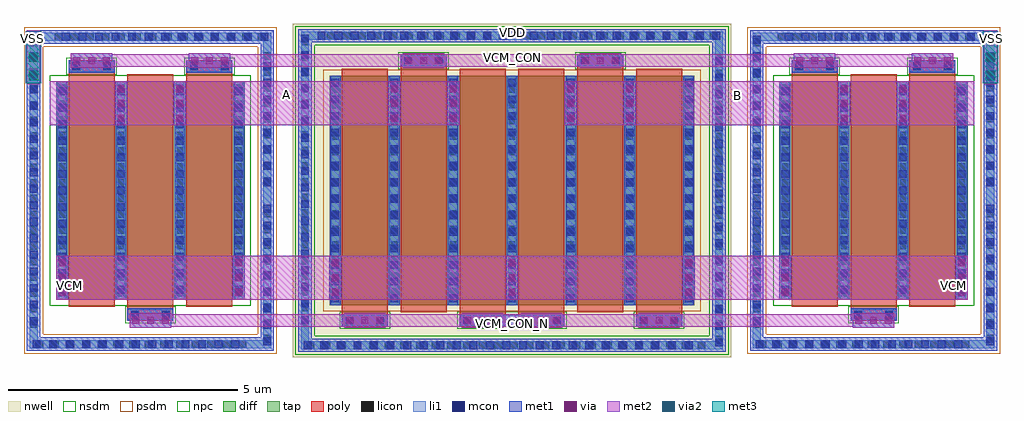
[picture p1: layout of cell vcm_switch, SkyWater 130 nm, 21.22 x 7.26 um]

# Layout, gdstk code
from math import pi, radians
import gdstk
lib = gdstk.Library(unit=1e-6, precision=1e-09)
def R(c, l, rs):  # rectangles x0, y0, x1, y1
    for r in rs: c.add(gdstk.rectangle(r[:2], r[2:], *l))
def A(c, l, x, y, w, h, nx, ny, dx, dy):  # array of equal rectangles
    R(c, l, [(x+i*dx, y+j*dy, x+i*dx+w, y+j*dy+h) for i in range(nx) for j in range(ny)])
nwell = (64, 20)
diff = (65, 20)
tap = (65, 44)
poly = (66, 20)
licon = (66, 44)
li1 = (67, 20)
mcon = (67, 44)
met1 = (68, 20)
via = (68, 44)
met2 = (69, 20)
via2 = (69, 44)
met3 = (70, 20)
nsdm = (93, 44)
psdm = (94, 20)
npc = (95, 20)

pfet_01v8_cdns_795502245 = lib.new_cell('pfet_01v8_CDNS_7955022452712')
R(pfet_01v8_cdns_795502245, nwell, [(-0.235,-0.18,1.235,5.18)])
R(pfet_01v8_cdns_795502245, diff, [(-0.055,0,0,5), (0,0,1,5), (1,0,1.055,5)])
R(pfet_01v8_cdns_795502245, poly, [(0,-0.15,1,0), (0,0,1,5), (0,5,1,5.19), (0,5.19,1,5.46)])
R(pfet_01v8_cdns_795502245, licon, [(0.08,5.24,0.25,5.41), (0.75,5.24,0.92,5.41)])
R(pfet_01v8_cdns_795502245, li1, [(0,5.21,1,5.44)])
R(pfet_01v8_cdns_795502245, mcon, [(0.08,5.24,0.25,5.41), (0.75,5.24,0.92,5.41)])
R(pfet_01v8_cdns_795502245, met1, [(0,5.19,1,5.46)])
R(pfet_01v8_cdns_795502245, psdm, [(-0.065,-0.13,1.065,5.13)])
R(pfet_01v8_cdns_795502245, npc, [(-0.05,5.14,1.05,5.51)])

nfet_01v8_cdns_795502245 = lib.new_cell('nfet_01v8_CDNS_7955022452713')
R(nfet_01v8_cdns_795502245, diff, [(-0.225,0,0,4.75), (0,0,1,4.75), (1,0,1.055,4.75)])
R(nfet_01v8_cdns_795502245, poly, [(0,-0.46,1,-0.19), (0,-0.19,1,0), (0,0,1,4.75), (0,4.75,1,4.9)])
A(nfet_01v8_cdns_795502245, licon, -0.225, 0.08, 0.17, 0.17, 1, 14, 0, 0.34)
R(nfet_01v8_cdns_795502245, licon, [(0.08,-0.41,0.25,-0.24), (0.75,-0.41,0.92,-0.24)])
R(nfet_01v8_cdns_795502245, li1, [(0,-0.44,1,-0.21), (-0.225,0,-0.055,4.75)])
A(nfet_01v8_cdns_795502245, mcon, -0.225, 0.13, 0.17, 0.17, 1, 13, 0, 0.36)
R(nfet_01v8_cdns_795502245, mcon, [(0.08,-0.41,0.25,-0.24), (0.75,-0.41,0.92,-0.24)])
R(nfet_01v8_cdns_795502245, met1, [(0,-0.46,1,-0.19), (-0.255,0,-0.025,4.75)])
R(nfet_01v8_cdns_795502245, nsdm, [(-0.235,-0.13,1.065,4.88)])
R(nfet_01v8_cdns_795502245, npc, [(-0.05,-0.51,1.05,-0.14)])

c_nfet_01v8_cdns_795502245 = lib.new_cell('nfet_01v8_CDNS_7955022452714')
R(c_nfet_01v8_cdns_795502245, diff, [(-0.265,0,0,4.75), (0,0,1,4.75), (1,0,1.225,4.75)])
R(c_nfet_01v8_cdns_795502245, poly, [(0,-0.15,1,0), (0,0,1,4.75), (0,4.75,1,4.94), (0,4.94,1,5.21)])
A(c_nfet_01v8_cdns_795502245, licon, -0.225, 0.08, 0.17, 0.17, 1, 14, 0, 0.34)
A(c_nfet_01v8_cdns_795502245, licon, 1.055, 0.08, 0.17, 0.17, 1, 14, 0, 0.34)
R(c_nfet_01v8_cdns_795502245, licon, [(0.08,4.99,0.25,5.16), (0.75,4.99,0.92,5.16)])
R(c_nfet_01v8_cdns_795502245, li1, [(-0.225,0,-0.055,4.75), (1.055,0,1.225,4.75), (0,4.96,1,5.19)])
A(c_nfet_01v8_cdns_795502245, mcon, -0.225, 0.13, 0.17, 0.17, 1, 13, 0, 0.36)
A(c_nfet_01v8_cdns_795502245, mcon, 1.055, 0.13, 0.17, 0.17, 1, 13, 0, 0.36)
R(c_nfet_01v8_cdns_795502245, mcon, [(0.08,4.99,0.25,5.16), (0.75,4.99,0.92,5.16)])
R(c_nfet_01v8_cdns_795502245, met1, [(-0.255,0,-0.025,4.75), (1.025,0,1.255,4.75), (0,4.94,1,5.21)])
R(c_nfet_01v8_cdns_795502245, nsdm, [(-0.405,-0.13,1.235,4.88)])
R(c_nfet_01v8_cdns_795502245, npc, [(-0.05,4.89,1.05,5.26)])

c_pfet_01v8_cdns_795502245 = lib.new_cell('pfet_01v8_CDNS_7955022452715')
R(c_pfet_01v8_cdns_795502245, nwell, [(-0.405,-0.18,1.235,5.18)])
R(c_pfet_01v8_cdns_795502245, diff, [(-0.225,0,0,5), (0,0,1,5), (1,0,1.055,5)])
R(c_pfet_01v8_cdns_795502245, poly, [(0,-0.15,1,0), (0,0,1,5), (0,5,1,5.19), (0,5.19,1,5.46)])
A(c_pfet_01v8_cdns_795502245, licon, -0.225, 0.205, 0.17, 0.17, 1, 14, 0, 0.34)
R(c_pfet_01v8_cdns_795502245, licon, [(0.08,5.24,0.25,5.41), (0.75,5.24,0.92,5.41)])
R(c_pfet_01v8_cdns_795502245, li1, [(-0.225,0,-0.055,5), (0,5.21,1,5.44)])
A(c_pfet_01v8_cdns_795502245, mcon, -0.225, 0.075, 0.17, 0.17, 1, 14, 0, 0.36)
R(c_pfet_01v8_cdns_795502245, mcon, [(0.08,5.24,0.25,5.41), (0.75,5.24,0.92,5.41)])
R(c_pfet_01v8_cdns_795502245, met1, [(-0.255,0,-0.025,5), (0,5.19,1,5.46)])
R(c_pfet_01v8_cdns_795502245, psdm, [(-0.235,-0.13,1.065,5.13)])
R(c_pfet_01v8_cdns_795502245, npc, [(-0.05,5.14,1.05,5.51)])

c_pfet_01v8_cdns_795502245_ = lib.new_cell('pfet_01v8_CDNS_7955022452716')
R(c_pfet_01v8_cdns_795502245_, nwell, [(-0.405,-0.18,1.445,5.18)])
R(c_pfet_01v8_cdns_795502245_, diff, [(-0.225,0,0,5), (0,0,1,5), (1,0,1.265,5)])
R(c_pfet_01v8_cdns_795502245_, poly, [(0,-0.46,1,-0.19), (0,-0.19,1,0), (0,0,1,5), (0,5,1,5.15)])
A(c_pfet_01v8_cdns_795502245_, licon, -0.225, 0.205, 0.17, 0.17, 1, 14, 0, 0.34)
A(c_pfet_01v8_cdns_795502245_, licon, 1.055, 0.205, 0.17, 0.17, 1, 14, 0, 0.34)
R(c_pfet_01v8_cdns_795502245_, licon, [(0.08,-0.41,0.25,-0.24), (0.75,-0.41,0.92,-0.24)])
R(c_pfet_01v8_cdns_795502245_, li1, [(0,-0.44,1,-0.21), (-0.225,0,-0.055,5), (1.055,0,1.225,5)])
A(c_pfet_01v8_cdns_795502245_, mcon, -0.225, 0.075, 0.17, 0.17, 1, 14, 0, 0.36)
A(c_pfet_01v8_cdns_795502245_, mcon, 1.055, 0.075, 0.17, 0.17, 1, 14, 0, 0.36)
R(c_pfet_01v8_cdns_795502245_, mcon, [(0.08,-0.41,0.25,-0.24), (0.75,-0.41,0.92,-0.24)])
R(c_pfet_01v8_cdns_795502245_, met1, [(0,-0.46,1,-0.19), (-0.255,0,-0.025,5), (1.025,0,1.255,5)])
R(c_pfet_01v8_cdns_795502245_, psdm, [(-0.235,-0.13,1.405,5.13)])
R(c_pfet_01v8_cdns_795502245_, npc, [(-0.05,-0.51,1.05,-0.14)])

c_pfet_01v8_cdns_795502245__ = lib.new_cell('pfet_01v8_CDNS_7955022452717')
R(c_pfet_01v8_cdns_795502245__, nwell, [(-0.235,-0.18,1.235,5.18)])
R(c_pfet_01v8_cdns_795502245__, diff, [(-0.055,0,0,5), (0,0,1,5), (1,0,1.055,5)])
R(c_pfet_01v8_cdns_795502245__, poly, [(0,-0.46,1,-0.19), (0,-0.19,1,0), (0,0,1,5), (0,5,1,5.15)])
R(c_pfet_01v8_cdns_795502245__, licon, [(0.08,-0.41,0.25,-0.24), (0.75,-0.41,0.92,-0.24)])
R(c_pfet_01v8_cdns_795502245__, li1, [(0,-0.44,1,-0.21)])
R(c_pfet_01v8_cdns_795502245__, mcon, [(0.08,-0.41,0.25,-0.24), (0.75,-0.41,0.92,-0.24)])
R(c_pfet_01v8_cdns_795502245__, met1, [(0,-0.46,1,-0.19)])
R(c_pfet_01v8_cdns_795502245__, psdm, [(-0.065,-0.13,1.065,5.13)])
R(c_pfet_01v8_cdns_795502245__, npc, [(-0.05,-0.51,1.05,-0.14)])

c_pfet_01v8_cdns_795502245___ = lib.new_cell('pfet_01v8_CDNS_7955022452718')
R(c_pfet_01v8_cdns_795502245___, nwell, [(-0.405,-0.18,1.405,5.18)])
R(c_pfet_01v8_cdns_795502245___, diff, [(-0.225,0,0,5), (0,0,1,5), (1,0,1.225,5)])
R(c_pfet_01v8_cdns_795502245___, poly, [(0,-0.46,1,-0.19), (0,-0.19,1,0), (0,0,1,5), (0,5,1,5.15)])
A(c_pfet_01v8_cdns_795502245___, licon, -0.225, 0.205, 0.17, 0.17, 1, 14, 0, 0.34)
A(c_pfet_01v8_cdns_795502245___, licon, 1.055, 0.205, 0.17, 0.17, 1, 14, 0, 0.34)
R(c_pfet_01v8_cdns_795502245___, licon, [(0.08,-0.41,0.25,-0.24), (0.75,-0.41,0.92,-0.24)])
R(c_pfet_01v8_cdns_795502245___, li1, [(0,-0.44,1,-0.21), (-0.225,0,-0.055,5), (1.055,0,1.225,5)])
A(c_pfet_01v8_cdns_795502245___, mcon, -0.225, 0.075, 0.17, 0.17, 1, 14, 0, 0.36)
A(c_pfet_01v8_cdns_795502245___, mcon, 1.055, 0.075, 0.17, 0.17, 1, 14, 0, 0.36)
R(c_pfet_01v8_cdns_795502245___, mcon, [(0.08,-0.41,0.25,-0.24), (0.75,-0.41,0.92,-0.24)])
R(c_pfet_01v8_cdns_795502245___, met1, [(0,-0.46,1,-0.19), (-0.255,0,-0.025,5), (1.025,0,1.255,5)])
R(c_pfet_01v8_cdns_795502245___, psdm, [(-0.235,-0.13,1.235,5.13)])
R(c_pfet_01v8_cdns_795502245___, npc, [(-0.05,-0.51,1.05,-0.14)])

c_pfet_01v8_cdns_795502245____ = lib.new_cell('pfet_01v8_CDNS_7955022452719')
R(c_pfet_01v8_cdns_795502245____, nwell, [(-0.405,-0.18,1.445,5.18)])
R(c_pfet_01v8_cdns_795502245____, diff, [(-0.225,0,0,5), (0,0,1,5), (1,0,1.265,5)])
R(c_pfet_01v8_cdns_795502245____, poly, [(0,-0.46,1,-0.19), (0,-0.19,1,0), (0,0,1,5), (0,5,1,5.15)])
A(c_pfet_01v8_cdns_795502245____, licon, -0.225, 0.205, 0.17, 0.17, 1, 14, 0, 0.34)
A(c_pfet_01v8_cdns_795502245____, licon, 1.055, 0.205, 0.17, 0.17, 1, 14, 0, 0.34)
R(c_pfet_01v8_cdns_795502245____, licon, [(0.08,-0.41,0.25,-0.24), (0.75,-0.41,0.92,-0.24)])
R(c_pfet_01v8_cdns_795502245____, li1, [(0,-0.44,1,-0.21), (-0.225,0,-0.055,5), (1.055,0,1.225,5)])
A(c_pfet_01v8_cdns_795502245____, mcon, -0.225, 0.075, 0.17, 0.17, 1, 14, 0, 0.36)
A(c_pfet_01v8_cdns_795502245____, mcon, 1.055, 0.075, 0.17, 0.17, 1, 14, 0, 0.36)
R(c_pfet_01v8_cdns_795502245____, mcon, [(0.08,-0.41,0.25,-0.24), (0.75,-0.41,0.92,-0.24)])
R(c_pfet_01v8_cdns_795502245____, met1, [(0,-0.46,1,-0.19), (-0.255,0,-0.025,5), (1.025,0,1.255,5)])
R(c_pfet_01v8_cdns_795502245____, psdm, [(-0.235,-0.13,1.405,5.13)])
R(c_pfet_01v8_cdns_795502245____, npc, [(-0.05,-0.51,1.05,-0.14)])

c_nfet_01v8_cdns_795502245_ = lib.new_cell('nfet_01v8_CDNS_7955022452720')
R(c_nfet_01v8_cdns_795502245_, diff, [(-0.055,0,0,4.75), (0,0,1,4.75), (1,0,1.055,4.75)])
R(c_nfet_01v8_cdns_795502245_, poly, [(0,-0.46,1,-0.19), (0,-0.19,1,0), (0,0,1,4.75), (0,4.75,1,4.9)])
R(c_nfet_01v8_cdns_795502245_, licon, [(0.08,-0.41,0.25,-0.24), (0.75,-0.41,0.92,-0.24)])
R(c_nfet_01v8_cdns_795502245_, li1, [(0,-0.44,1,-0.21)])
R(c_nfet_01v8_cdns_795502245_, mcon, [(0.08,-0.41,0.25,-0.24), (0.75,-0.41,0.92,-0.24)])
R(c_nfet_01v8_cdns_795502245_, met1, [(0,-0.46,1,-0.19)])
R(c_nfet_01v8_cdns_795502245_, nsdm, [(-0.065,-0.13,1.065,4.88)])
R(c_nfet_01v8_cdns_795502245_, npc, [(-0.05,-0.51,1.05,-0.14)])

c_nfet_01v8_cdns_795502245__ = lib.new_cell('nfet_01v8_CDNS_7955022452721')
R(c_nfet_01v8_cdns_795502245__, diff, [(-0.265,0,0,4.75), (0,0,1,4.75), (1,0,1.055,4.75)])
R(c_nfet_01v8_cdns_795502245__, poly, [(0,-0.15,1,0), (0,0,1,4.75), (0,4.75,1,4.94), (0,4.94,1,5.21)])
A(c_nfet_01v8_cdns_795502245__, licon, -0.225, 0.08, 0.17, 0.17, 1, 14, 0, 0.34)
R(c_nfet_01v8_cdns_795502245__, licon, [(0.08,4.99,0.25,5.16), (0.75,4.99,0.92,5.16)])
R(c_nfet_01v8_cdns_795502245__, li1, [(-0.225,0,-0.055,4.75), (0,4.96,1,5.19)])
A(c_nfet_01v8_cdns_795502245__, mcon, -0.225, 0.13, 0.17, 0.17, 1, 13, 0, 0.36)
R(c_nfet_01v8_cdns_795502245__, mcon, [(0.08,4.99,0.25,5.16), (0.75,4.99,0.92,5.16)])
R(c_nfet_01v8_cdns_795502245__, met1, [(-0.255,0,-0.025,4.75), (0,4.94,1,5.21)])
R(c_nfet_01v8_cdns_795502245__, nsdm, [(-0.405,-0.13,1.065,4.88)])
R(c_nfet_01v8_cdns_795502245__, npc, [(-0.05,4.89,1.05,5.26)])

c_nfet_01v8_cdns_795502245___ = lib.new_cell('nfet_01v8_CDNS_7955022452722')
R(c_nfet_01v8_cdns_795502245___, diff, [(-0.265,0,0,4.75), (0,0,1,4.75), (1,0,1.225,4.75)])
R(c_nfet_01v8_cdns_795502245___, poly, [(0,-0.15,1,0), (0,0,1,4.75), (0,4.75,1,4.94), (0,4.94,1,5.21)])
A(c_nfet_01v8_cdns_795502245___, licon, -0.225, 0.08, 0.17, 0.17, 1, 14, 0, 0.34)
A(c_nfet_01v8_cdns_795502245___, licon, 1.055, 0.08, 0.17, 0.17, 1, 14, 0, 0.34)
R(c_nfet_01v8_cdns_795502245___, licon, [(0.08,4.99,0.25,5.16), (0.75,4.99,0.92,5.16)])
R(c_nfet_01v8_cdns_795502245___, li1, [(-0.225,0,-0.055,4.75), (1.055,0,1.225,4.75), (0,4.96,1,5.19)])
A(c_nfet_01v8_cdns_795502245___, mcon, -0.225, 0.13, 0.17, 0.17, 1, 13, 0, 0.36)
A(c_nfet_01v8_cdns_795502245___, mcon, 1.055, 0.13, 0.17, 0.17, 1, 13, 0, 0.36)
R(c_nfet_01v8_cdns_795502245___, mcon, [(0.08,4.99,0.25,5.16), (0.75,4.99,0.92,5.16)])
R(c_nfet_01v8_cdns_795502245___, met1, [(-0.255,0,-0.025,4.75), (1.025,0,1.255,4.75), (0,4.94,1,5.21)])
R(c_nfet_01v8_cdns_795502245___, nsdm, [(-0.405,-0.13,1.235,4.88)])
R(c_nfet_01v8_cdns_795502245___, npc, [(-0.05,4.89,1.05,5.26)])

m1m2_pr_cdns_79542506343 = lib.new_cell('M1M2_PR_CDNS_795425063434_CDNS_7956644774928')
R(m1m2_pr_cdns_79542506343, met1, [(-0.13,-0.48,0.13,0.48)])
A(m1m2_pr_cdns_79542506343, via, -0.075, -0.395, 0.15, 0.15, 1, 3, 0, 0.32)
R(m1m2_pr_cdns_79542506343, met2, [(-0.13,-0.48,0.13,0.48)])

c_m1m2_pr_cdns_79542506343 = lib.new_cell('M1M2_PR_CDNS_795425063434_CDNS_7956644774929')
R(c_m1m2_pr_cdns_79542506343, met1, [(-0.45,-0.16,0.45,0.16)])
A(c_m1m2_pr_cdns_79542506343, via, -0.395, -0.075, 0.15, 0.15, 3, 1, 0.32, 0)
R(c_m1m2_pr_cdns_79542506343, met2, [(-0.45,-0.16,0.45,0.16)])

m2m3_c_cdns_795425063430 = lib.new_cell('M2M3_C_CDNS_795425063430_CDNS_7956644774930')
R(m2m3_c_cdns_795425063430, met2, [(-0.14,-0.585,0.14,0.585)])
A(m2m3_c_cdns_795425063430, via2, -0.1, -0.5, 0.2, 0.2, 1, 3, 0, 0.4)
R(m2m3_c_cdns_795425063430, met3, [(-0.165,-0.565,0.165,0.565)])

c_m1m2_pr_cdns_79542506343_ = lib.new_cell('M1M2_PR_CDNS_795425063434_CDNS_7956644774931')
R(c_m1m2_pr_cdns_79542506343_, met1, [(-0.13,-0.5,0.13,0.5)])
A(c_m1m2_pr_cdns_79542506343_, via, -0.075, -0.395, 0.15, 0.15, 1, 3, 0, 0.32)
R(c_m1m2_pr_cdns_79542506343_, met2, [(-0.14,-0.585,0.14,0.585)])

vcm_switch = lib.new_cell('vcm_switch')
R(vcm_switch, nwell, [(6.375,0.53,14.845,6.73), (6.465,0.95,14.755,6.31)])
A(vcm_switch, licon, 6.145, 0.18, 0.17, 0.17, 26, 1, 0.34, 0)
A(vcm_switch, licon, 0.245, 0.205, 0.17, 0.17, 14, 1, 0.34, 0)
A(vcm_switch, licon, 15.965, 0.205, 0.17, 0.17, 14, 1, 0.34, 0)
A(vcm_switch, licon, 15.025, 0.3, 0.17, 0.17, 1, 19, 0, 0.34)
A(vcm_switch, licon, 5.205, 0.325, 0.17, 0.17, 1, 9, 0, 0.34)
A(vcm_switch, licon, 20.925, 0.325, 0.17, 0.17, 1, 9, 0, 0.34)
A(vcm_switch, licon, 0.125, 0.645, 0.17, 0.17, 1, 19, 0, 0.34)
A(vcm_switch, licon, 15.845, 0.645, 0.17, 0.17, 1, 19, 0, 0.34)
A(vcm_switch, licon, 6.025, 0.67, 0.17, 0.17, 1, 19, 0, 0.34)
A(vcm_switch, licon, 5.205, 3.75, 0.17, 0.17, 1, 9, 0, 0.34)
A(vcm_switch, licon, 20.925, 3.75, 0.17, 0.17, 1, 9, 0, 0.34)
A(vcm_switch, licon, 0.665, 6.885, 0.17, 0.17, 14, 1, 0.34, 0)
A(vcm_switch, licon, 16.385, 6.885, 0.17, 0.17, 14, 1, 0.34, 0)
A(vcm_switch, licon, 6.58, 6.91, 0.17, 0.17, 12, 1, 0.34, 0)
A(vcm_switch, licon, 10.825, 6.91, 0.17, 0.17, 13, 1, 0.34, 0)
A(vcm_switch, mcon, 6.085, 0.18, 0.17, 0.17, 24, 1, 0.36, 0)
A(vcm_switch, mcon, 0.185, 0.205, 0.17, 0.17, 13, 1, 0.36, 0)
A(vcm_switch, mcon, 15.905, 0.205, 0.17, 0.17, 13, 1, 0.36, 0)
A(vcm_switch, mcon, 15.025, 0.24, 0.17, 0.17, 1, 18, 0, 0.36)
A(vcm_switch, mcon, 5.205, 0.265, 0.17, 0.17, 1, 9, 0, 0.36)
A(vcm_switch, mcon, 20.925, 0.265, 0.17, 0.17, 1, 9, 0, 0.36)
A(vcm_switch, mcon, 0.125, 0.705, 0.17, 0.17, 1, 18, 0, 0.36)
A(vcm_switch, mcon, 15.845, 0.705, 0.17, 0.17, 1, 18, 0, 0.36)
A(vcm_switch, mcon, 6.025, 0.73, 0.17, 0.17, 1, 18, 0, 0.36)
A(vcm_switch, mcon, 5.205, 3.725, 0.17, 0.17, 1, 8, 0, 0.36)
A(vcm_switch, mcon, 20.925, 3.725, 0.17, 0.17, 1, 8, 0, 0.36)
A(vcm_switch, mcon, 0.825, 6.885, 0.17, 0.17, 13, 1, 0.36, 0)
A(vcm_switch, mcon, 16.545, 6.885, 0.17, 0.17, 13, 1, 0.36, 0)
A(vcm_switch, mcon, 6.385, 6.91, 0.17, 0.17, 12, 1, 0.36, 0)
A(vcm_switch, mcon, 11.005, 6.91, 0.17, 0.17, 12, 1, 0.36, 0)
R(vcm_switch, met1, [(10.54,7,10.68,7.14)])
R(vcm_switch, met2, [(10.54,0.67,10.68,0.81), (0.7,1.255,1.3,1.855), (19.92,1.255,20.52,1.855), (5.4,5.405,6,6.005), (15.22,5.405,15.82,6.005), (10.54,6.45,10.68,6.59)])
R(vcm_switch, met3, [(0.04,6.795,0.34,7.095), (20.88,6.795,21.18,7.095)])
R(vcm_switch, npc, [(10.52,0.62,10.7,0.99)])
vcm_switch.add(gdstk.FlexPath([(10.61,6.995),(6.11,6.995),(6.11,0.265),(15.11,0.265),(15.11,6.995),(10.61,6.995)], 0.17, ends="flush", simple_path=True, layer=67, datatype=20))  # li1
vcm_switch.add(gdstk.FlexPath([(21.01,3.63),(21.01,6.97),(15.93,6.97),(15.93,0.29),(21.01,0.29),(21.01,3.63)], 0.17, ends="flush", simple_path=True, layer=67, datatype=20))  # li1
vcm_switch.add(gdstk.FlexPath([(5.29,3.63),(5.29,6.97),(0.21,6.97),(0.21,0.29),(5.29,0.29),(5.29,3.63)], 0.17, ends="flush", simple_path=True, layer=67, datatype=20))  # li1
vcm_switch.add(gdstk.FlexPath([(10.47,0.805),(10.75,0.805)], 0.23, ends="flush", simple_path=True, layer=67, datatype=20))  # li1
vcm_switch.add(gdstk.FlexPath([(21.01,3.63),(21.01,6.97),(15.93,6.97),(15.93,0.29),(21.01,0.29),(21.01,3.63)], 0.42, ends="flush", simple_path=True, layer=94, datatype=20))  # psdm
vcm_switch.add(gdstk.FlexPath([(5.29,3.63),(5.29,6.97),(0.21,6.97),(0.21,0.29),(5.29,0.29),(5.29,3.63)], 0.42, ends="flush", simple_path=True, layer=94, datatype=20))  # psdm
vcm_switch.add(gdstk.FlexPath([(10.61,6.995),(6.11,6.995),(6.11,0.265),(15.11,0.265),(15.11,6.995),(10.61,6.995)], 0.53, ends="flush", simple_path=True, layer=64, datatype=20))  # nwell
vcm_switch.add(gdstk.FlexPath([(10.61,6.995),(6.11,6.995),(6.11,0.265),(15.11,0.265),(15.11,6.995),(10.61,6.995)], 0.29, ends="flush", simple_path=True, layer=68, datatype=20))  # met1
vcm_switch.add(gdstk.FlexPath([(21.01,3.63),(21.01,6.97),(15.93,6.97),(15.93,0.29),(21.01,0.29),(21.01,3.63)], 0.29, ends="flush", simple_path=True, layer=68, datatype=20))  # met1
vcm_switch.add(gdstk.FlexPath([(5.29,3.63),(5.29,6.97),(0.21,6.97),(0.21,0.29),(5.29,0.29),(5.29,3.63)], 0.29, ends="flush", simple_path=True, layer=68, datatype=20))  # met1
vcm_switch.add(gdstk.FlexPath([(10.47,0.805),(10.75,0.805)], 0.27, ends="flush", simple_path=True, layer=68, datatype=20))  # met1
vcm_switch.add(gdstk.FlexPath([(17.19,6.455),(12.53,6.455)], 0.27, ends="flush", simple_path=True, layer=69, datatype=20))  # met2
vcm_switch.add(gdstk.FlexPath([(12.53,6.455),(8.69,6.455)], 0.27, ends="flush", simple_path=True, layer=69, datatype=20))  # met2
vcm_switch.add(gdstk.FlexPath([(17.19,6.455),(19.75,6.455)], 0.27, ends="flush", simple_path=True, layer=69, datatype=20))  # met2
vcm_switch.add(gdstk.FlexPath([(13.81,0.805),(18.47,0.805)], 0.27, ends="flush", simple_path=True, layer=69, datatype=20))  # met2
vcm_switch.add(gdstk.FlexPath([(11.25,0.805),(13.81,0.805)], 0.27, ends="flush", simple_path=True, layer=69, datatype=20))  # met2
vcm_switch.add(gdstk.FlexPath([(9.97,0.805),(11.25,0.805)], 0.27, ends="flush", simple_path=True, layer=69, datatype=20))  # met2
vcm_switch.add(gdstk.FlexPath([(7.41,0.805),(9.97,0.805)], 0.27, ends="flush", simple_path=True, layer=69, datatype=20))  # met2
vcm_switch.add(gdstk.FlexPath([(7.41,0.805),(2.75,0.805)], 0.27, ends="flush", simple_path=True, layer=69, datatype=20))  # met2
vcm_switch.add(gdstk.FlexPath([(8.69,6.455),(4.03,6.455)], 0.27, ends="flush", simple_path=True, layer=69, datatype=20))  # met2
vcm_switch.add(gdstk.FlexPath([(4.03,6.455),(1.47,6.455)], 0.27, ends="flush", simple_path=True, layer=69, datatype=20))  # met2
vcm_switch.add(gdstk.FlexPath([(20.655,5.525),(11.75,5.525)], 0.96, ends="flush", simple_path=True, layer=69, datatype=20))  # met2
vcm_switch.add(gdstk.FlexPath([(0.565,5.525),(9.47,5.525)], 0.96, ends="flush", simple_path=True, layer=69, datatype=20))  # met2
vcm_switch.add(gdstk.FlexPath([(0.83,1.735),(4.67,1.735)], 0.96, ends="flush", simple_path=True, layer=69, datatype=20))  # met2
vcm_switch.add(gdstk.FlexPath([(4.67,1.735),(6.77,1.735)], 0.96, ends="flush", simple_path=True, layer=69, datatype=20))  # met2
vcm_switch.add(gdstk.FlexPath([(6.77,1.735),(10.61,1.735)], 0.96, ends="flush", simple_path=True, layer=69, datatype=20))  # met2
vcm_switch.add(gdstk.FlexPath([(10.61,1.735),(14.45,1.735)], 0.96, ends="flush", simple_path=True, layer=69, datatype=20))  # met2
vcm_switch.add(gdstk.FlexPath([(14.45,1.735),(16.55,1.735)], 0.96, ends="flush", simple_path=True, layer=69, datatype=20))  # met2
vcm_switch.add(gdstk.FlexPath([(16.55,1.735),(20.39,1.735)], 0.96, ends="flush", simple_path=True, layer=69, datatype=20))  # met2
vcm_switch.add(gdstk.FlexPath([(10.61,6.995),(6.11,6.995),(6.11,0.265),(15.11,0.265),(15.11,6.995),(10.61,6.995)], 0.17, ends="flush", simple_path=True, layer=65, datatype=44))  # tap
vcm_switch.add(gdstk.FlexPath([(5.29,3.63),(5.29,6.97),(0.21,6.97),(0.21,0.29),(5.29,0.29),(5.29,3.63)], 0.17, ends="flush", simple_path=True, layer=65, datatype=44))  # tap
vcm_switch.add(gdstk.FlexPath([(21.01,3.63),(21.01,6.97),(15.93,6.97),(15.93,0.29),(21.01,0.29),(21.01,3.63)], 0.17, ends="flush", simple_path=True, layer=65, datatype=44))  # tap
vcm_switch.add(gdstk.FlexPath([(10.61,6.995),(6.11,6.995),(6.11,0.265),(15.11,0.265),(15.11,6.995),(10.61,6.995)], 0.42, ends="flush", simple_path=True, layer=93, datatype=44))  # nsdm
vcm_switch.add(gdstk.Reference(pfet_01v8_cdns_795502245, (13.03,1.13), rotation=pi, x_reflection=True))
vcm_switch.add(gdstk.Reference(nfet_01v8_cdns_795502245, (3.25,1.255), rotation=pi, x_reflection=True))
vcm_switch.add(gdstk.Reference(c_nfet_01v8_cdns_795502245, (0.97,1.255)))
vcm_switch.add(gdstk.Reference(c_nfet_01v8_cdns_795502245, (16.69,1.255)))
vcm_switch.add(gdstk.Reference(c_pfet_01v8_cdns_795502245, (9.19,1.13), rotation=pi, x_reflection=True))
vcm_switch.add(gdstk.Reference(c_pfet_01v8_cdns_795502245_, (7.91,1.13), rotation=pi, x_reflection=True))
vcm_switch.add(gdstk.Reference(c_pfet_01v8_cdns_795502245__, (9.47,1.13)))
vcm_switch.add(gdstk.Reference(c_pfet_01v8_cdns_795502245___, (11.75,1.13), rotation=pi, x_reflection=True))
vcm_switch.add(gdstk.Reference(c_pfet_01v8_cdns_795502245____, (13.31,1.13)))
vcm_switch.add(gdstk.Reference(c_nfet_01v8_cdns_795502245_, (18.97,1.255), rotation=pi, x_reflection=True))
vcm_switch.add(gdstk.Reference(c_nfet_01v8_cdns_795502245__, (4.53,1.255), rotation=pi, x_reflection=True))
vcm_switch.add(gdstk.Reference(c_nfet_01v8_cdns_795502245___, (20.25,1.255), rotation=pi, x_reflection=True))
vcm_switch.add(gdstk.Reference(m1m2_pr_cdns_79542506343, (11.89,5.525), rotation=pi, x_reflection=True))
vcm_switch.add(gdstk.Reference(m1m2_pr_cdns_79542506343, (13.17,5.525), rotation=pi, x_reflection=True))
vcm_switch.add(gdstk.Reference(m1m2_pr_cdns_79542506343, (17.83,5.525), rotation=pi, x_reflection=True))
vcm_switch.add(gdstk.Reference(m1m2_pr_cdns_79542506343, (19.11,5.525), rotation=pi, x_reflection=True))
vcm_switch.add(gdstk.Reference(m1m2_pr_cdns_79542506343, (9.33,5.525), rotation=pi, x_reflection=True))
vcm_switch.add(gdstk.Reference(m1m2_pr_cdns_79542506343, (8.05,5.525), rotation=pi, x_reflection=True))
vcm_switch.add(gdstk.Reference(m1m2_pr_cdns_79542506343, (3.39,5.525), rotation=pi, x_reflection=True))
vcm_switch.add(gdstk.Reference(m1m2_pr_cdns_79542506343, (2.11,5.525), rotation=pi, x_reflection=True))
vcm_switch.add(gdstk.Reference(m1m2_pr_cdns_79542506343, (16.55,1.735), rotation=pi, x_reflection=True))
vcm_switch.add(gdstk.Reference(m1m2_pr_cdns_79542506343, (20.39,1.735), rotation=pi, x_reflection=True))
vcm_switch.add(gdstk.Reference(m1m2_pr_cdns_79542506343, (14.45,1.735), rotation=pi, x_reflection=True))
vcm_switch.add(gdstk.Reference(m1m2_pr_cdns_79542506343, (10.61,1.735), rotation=pi, x_reflection=True))
vcm_switch.add(gdstk.Reference(m1m2_pr_cdns_79542506343, (6.77,1.735), rotation=pi, x_reflection=True))
vcm_switch.add(gdstk.Reference(m1m2_pr_cdns_79542506343, (4.67,1.735), rotation=pi, x_reflection=True))
vcm_switch.add(gdstk.Reference(m1m2_pr_cdns_79542506343, (0.83,1.735), rotation=pi, x_reflection=True))
vcm_switch.add(gdstk.Reference(c_m1m2_pr_cdns_79542506343, (9.97,0.805), rotation=pi, x_reflection=True))
vcm_switch.add(gdstk.Reference(c_m1m2_pr_cdns_79542506343, (18.47,0.805), rotation=pi, x_reflection=True))
vcm_switch.add(gdstk.Reference(c_m1m2_pr_cdns_79542506343, (19.75,6.455), rotation=pi, x_reflection=True))
vcm_switch.add(gdstk.Reference(c_m1m2_pr_cdns_79542506343, (17.19,6.455), rotation=pi, x_reflection=True))
vcm_switch.add(gdstk.Reference(c_m1m2_pr_cdns_79542506343, (1.47,6.455), rotation=pi, x_reflection=True))
vcm_switch.add(gdstk.Reference(c_m1m2_pr_cdns_79542506343, (4.03,6.455), rotation=pi, x_reflection=True))
vcm_switch.add(gdstk.Reference(c_m1m2_pr_cdns_79542506343, (8.69,6.455), rotation=pi, x_reflection=True))
vcm_switch.add(gdstk.Reference(c_m1m2_pr_cdns_79542506343, (12.53,6.455), rotation=pi, x_reflection=True))
vcm_switch.add(gdstk.Reference(c_m1m2_pr_cdns_79542506343, (2.75,0.805), rotation=pi, x_reflection=True))
vcm_switch.add(gdstk.Reference(c_m1m2_pr_cdns_79542506343, (7.41,0.805), rotation=pi, x_reflection=True))
vcm_switch.add(gdstk.Reference(c_m1m2_pr_cdns_79542506343, (11.25,0.805), rotation=pi, x_reflection=True))
vcm_switch.add(gdstk.Reference(c_m1m2_pr_cdns_79542506343, (13.81,0.805), rotation=pi, x_reflection=True))
vcm_switch.add(gdstk.Reference(m2m3_c_cdns_795425063430, (0.205,6.53)))
vcm_switch.add(gdstk.Reference(m2m3_c_cdns_795425063430, (21.015,6.53)))
vcm_switch.add(gdstk.Reference(c_m1m2_pr_cdns_79542506343_, (0.205,6.53)))
vcm_switch.add(gdstk.Reference(c_m1m2_pr_cdns_79542506343_, (21.015,6.53)))
vcm_switch.add(gdstk.Label('A', (5.71,5.725), layer=69, texttype=5))
vcm_switch.add(gdstk.Label('B', (15.515,5.705), layer=69, texttype=5))
vcm_switch.add(gdstk.Label('VCM_CON_N', (10.61,0.74), layer=69, texttype=5))
vcm_switch.add(gdstk.Label('VCM_CON', (10.61,6.52), layer=69, texttype=5))
vcm_switch.add(gdstk.Label('VCM', (0.99,1.555), layer=69, texttype=5))
vcm_switch.add(gdstk.Label('VCM', (20.21,1.555), layer=69, texttype=5))
vcm_switch.add(gdstk.Label('VDD', (10.61,7.07), layer=68, texttype=5))
vcm_switch.add(gdstk.Label('VSS', (0.19,6.945), layer=70, texttype=5))
vcm_switch.add(gdstk.Label('VSS', (21.03,6.945), layer=70, texttype=5))

lib.write_gds('vcm_switch.gds')
